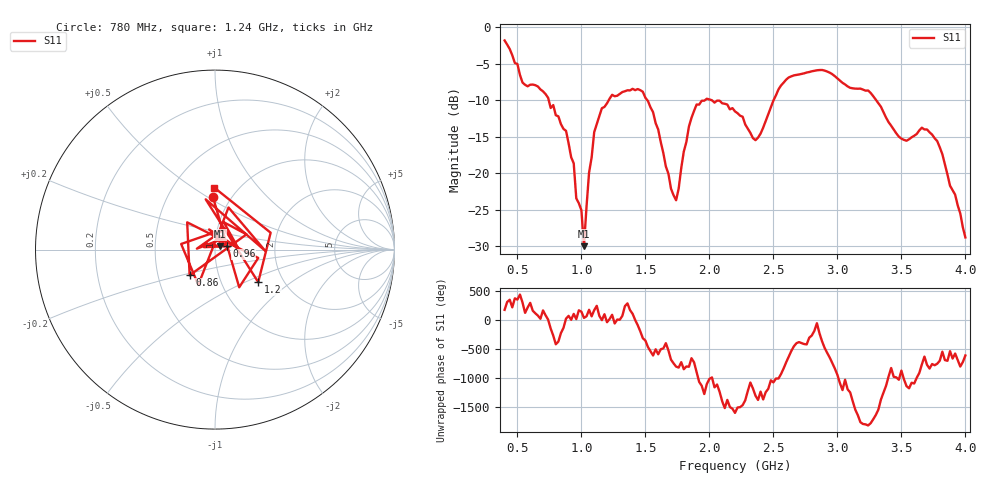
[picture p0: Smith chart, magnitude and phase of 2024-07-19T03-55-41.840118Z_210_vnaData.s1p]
!Created with skrf (http://scikit-rf.org).
# Hz S RI R 50.0
!freq ReS11 ImS11
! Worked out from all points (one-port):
!   181 points, 400 MHz to 4 GHz, reference 50 ohm
!   lowest |S11| = -30.0 dB at 1.02 GHz (marker M1), VSWR 1.07, Z = 52.6 + j1.99 ohm
!   |S11| at or under -10 dB: 744.8 MHz to 1.213 GHz (468.5 MHz wide, 47.8 % of centre); 2.019 GHz to 2.501 GHz (482.2 MHz wide, 21.3 % of centre); 3.304 GHz to end of sweep (the widest 3 of 4)
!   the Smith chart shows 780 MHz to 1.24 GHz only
!   S11 on the Smith chart (normalised r, x): 780 MHz: 0.82, +0.53; 860 MHz: 0.73, -0.22; 960 MHz: 1.14, +0.04; 1.2 GHz: 1.49, -0.60; 1.24 GHz: 0.78, +0.61
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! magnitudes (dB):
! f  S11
! 400 MHz  -1.8
! 540 MHz  -7.6
! 780 MHz  -10.7
! 860 MHz  -13.9
! 940 MHz  -18.7
! 960 MHz  -23.4
! 1 GHz  -25.1
! 1.02 GHz  -30.0
! 1.06 GHz  -19.9
! 1.1 GHz  -14.4
! 1.2 GHz  -10.4
! 1.24 GHz  -9.3
! 1.3 GHz  -9.1
! 1.48 GHz  -8.8
! 1.6 GHz  -14.0
! 1.7 GHz  -22.1
! 1.76 GHz  -22.1
! 1.84 GHz  -13.6
! 1.9 GHz  -10.6
! 2.2 GHz  -11.5
! 2.36 GHz  -15.5
! 2.66 GHz  -6.6
! 3.1 GHz  -8.3
! 3.24 GHz  -8.7
! 3.56 GHz  -15.3
! 3.66 GHz  -13.8
! 3.78 GHz  -15.6
! 4 GHz  -28.8
